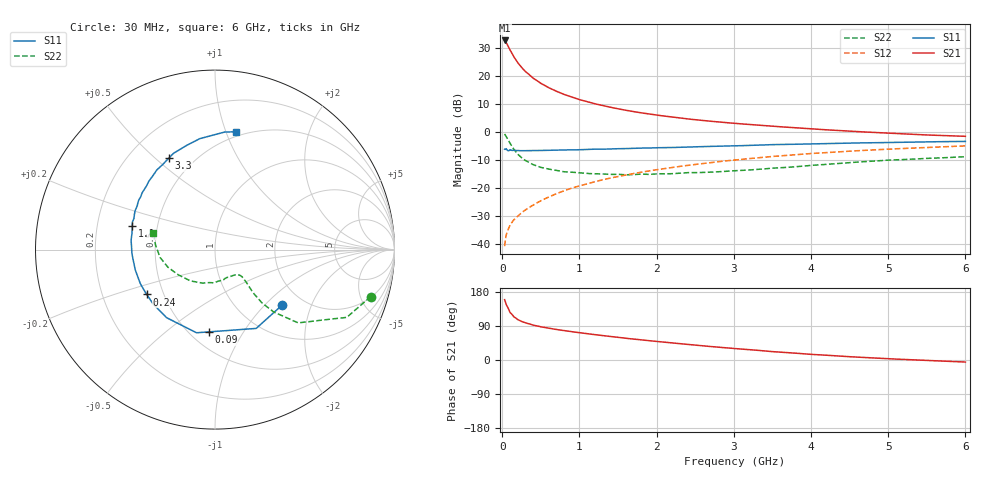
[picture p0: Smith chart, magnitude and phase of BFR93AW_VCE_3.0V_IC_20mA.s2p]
! Infineon Technologies  Discrete & RF Semiconductors
! BFR93AW
! VCE =  3.0 V,  IC =  20 mA
! Common Emitter S-Parameters:  Nov 2015
# GHz  S  MA  R  50
!  f  S11  S21  S12  S22
! GHz  MAG  ANG  MAG  ANG  MAG  ANG  MAG  ANG
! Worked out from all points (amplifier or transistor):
!   206 points, 30 MHz to 6 GHz, reference 50 ohm
!   highest |S21| = 32.5 dB at 30 MHz (marker M1)
!   |S21| within 3 dB of that: start of sweep to 92.7 MHz
!   unconditionally stable (mu >= 1): 533.5 MHz to 2.262 GHz
!   at 200 MHz: K = 0.72, MSG = 27.4 dB, |S12| = -30.2 dB
!   at 1.56 GHz: K = 1.05, MAG = 10.5 dB, |S12| = -15.7 dB
!   at 6 GHz: K = 0.92, MSG = 1.7 dB, |S12| = -5.1 dB
!   S11 on the Smith chart (normalised r, x): 30 MHz: 1.57, -1.27; 90 MHz: 0.61, -0.71; 240 MHz: 0.40, -0.25; 1.1 GHz: 0.36, +0.12; 3.3 GHz: 0.37, +0.55; 6 GHz: 0.46, +1.09
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0.03  0.4852 -39.6  42.26 159.2  0.009 72.3  0.9062 -16.8
0.05  0.4954 -62.4  39.02 146.0  0.0142 67.8  0.8256 -27.2
0.09  0.46 -94.5  30.39 130.6  0.0199 61.6  0.6549 -37.9
0.1  0.4747 -102.5  28.7 125.4  0.0214 60.6  0.617 -41.4
0.15  0.4655 -125.4  21.49 113.9  0.0267 58.3  0.4781 -46.7
0.2  0.4589 -138.8  16.98 106.7  0.031 58.4  0.3948 -48.6
0.24  0.455 -146.7  14.5 102.8  0.0347 60.6  0.3494 -48.7
0.3  0.4572 -155.5  11.77 97.8  0.04 62.6  0.3039 -48.1
0.4  0.4584 -165.6  8.959 92.0  0.0487 65.3  0.2564 -46.4
0.5  0.4595 -172.3  7.248 87.5  0.0582 67.3  0.2292 -45.6
0.6  0.4632 -177.3  6.074 83.9  0.0677 68.3  0.2136 -45.1
0.7  0.465 178.0  5.247 80.6  0.0777 69.1  0.2031 -45.5
0.9  0.4704 170.5  4.115 74.7  0.0978 69.8  0.1883 -47.8
1.04  0.4756 165.8  3.59 71.0  0.1113 69.5  0.1814 -50.8
1.1  0.4792 164.1  3.4 69.4  0.1174 69.3  0.1781 -52.9
1.5  0.4947 154.2  2.543 59.8  0.1576 67.7  0.1724 -63.3
2.02  0.515 141.7  1.95 48.5  0.2105 64.1  0.1759 -80.4
3.1  0.56 120.3  1.37 28.9  0.3191 54.2  0.2023 -114.3
3.3  0.571 116.7  1.305 25.7  0.339 52.1  0.2106 -121.7
4.1  0.6057 103.6  1.095 13.8  0.4132 43.5  0.2539 -148.9
5.1  0.6407 90.1  0.923 2.4  0.4925 32.5  0.3125 -174.5
6  0.6669 79.7  0.822 -5.4  0.5549 23.1  0.3556 164.9
